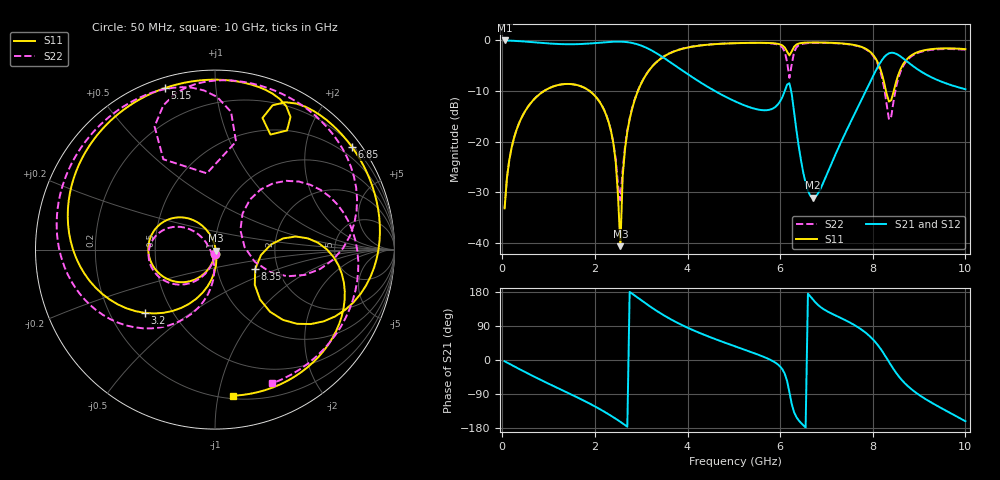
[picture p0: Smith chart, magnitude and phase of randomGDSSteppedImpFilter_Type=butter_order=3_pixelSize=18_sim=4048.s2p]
! freq	dB(S11)	phase(S11)	dB(S12)	phase(S12)
!  dB(S21)	phase(S21)	dB(S22)	phase(S22)
!S-par simulation data
#  GHz  S  DB  R 50
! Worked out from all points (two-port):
!   200 points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, 50 MHz to 10 GHz, reference 50 ohm
!   highest |S21| = -0.01 dB at 50 MHz (marker M1); lowest = -31.0 dB at 6.7 GHz (marker M2)
!   |S21| within 3 dB of the highest: start of sweep to 3.414 GHz; 8.279 GHz to 8.574 GHz (294.4 MHz wide, 3.49 % of centre)
!   lowest |S11| = -40.6 dB at 2.55 GHz (marker M3), VSWR 1.02, Z = 50.7 - j0.67 ohm
!   |S11| at or under -10 dB: start of sweep to 899.5 MHz; 1.886 GHz to 2.929 GHz (1.043 GHz wide, 43.3 % of centre); 8.286 GHz to 8.453 GHz (166.9 MHz wide, 1.99 % of centre)
!   |S22| runs from -33.2 to -0.5 dB; largest |S21 - S12| = 0
!   S11 on the Smith chart (normalised r, x): 50 MHz: 1.00, -0.04; 3.2 GHz: 0.35, -0.34; 5.15 GHz: 0.05, +0.73; 6.85 GHz: 0.24, +2.99; 8.35 GHz: 1.53, -0.35; 10 GHz: 0.22, -1.10
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0.05  -33.16 -93.4  -0.01 -3.3  -0.01 -3.3  -33.16 -93.1
0.55  -13.16 -127.4  -0.26 -35.4  -0.26 -35.4  -13.16 -124.4
1.75  -9.26 157.9  -0.69 -106.6  -0.69 -106.6  -9.25 168.8
2.35  -18.02 114.2  -0.27 -147.3  -0.27 -147.3  -17.92 137.5
2.55  -40.63 -45.3  -0.24 -163.2  -0.24 -163.2  -31.58 -139.0
2.6  -26.78 -79.4  -0.26 -167.4  -0.26 -167.4  -25.53 -100.7
2.7  -18.04 -91.6  -0.34 -176.0  -0.34 -176.0  -17.79 -92.0
3.2  -5.56 -138.0  -1.85 140.5  -1.85 140.5  -5.52 -125.1
3.4  -3.75 -154.6  -2.92 124.5  -2.92 124.5  -3.72 -139.6
4.1  -1.23 158.7  -7.24 79.8  -7.24 79.8  -1.21 179.3
5.05  -0.54 111.9  -12.13 35.0  -12.13 35.0  -0.53 138.8
5.15  -0.52 107.4  -12.53 30.7  -12.53 30.7  -0.51 134.8
5.95  -0.67 69.7  -12.66 -11.6  -12.66 -11.6  -0.82 97.9
6.2  -2.96 64.3  -8.46 -84.7  -8.46 -84.7  -7.39 96.1
6.3  -1.25 68.3  -14.08 -137.5  -14.08 -137.5  -2.34 116.1
6.7  -0.41 44.2  -31.05 160.6  -31.05 160.6  -0.48 84.6
6.85  -0.41 36.7  -29.69 141.9  -29.69 141.9  -0.46 76.8
7.8  -1.44 -17.0  -10.90 76.4  -10.90 76.4  -1.51 19.7
8.35  -12.08 -26.0  -2.54 -5.1  -2.54 -5.1  -15.63 4.9
8.65  -4.79 3.8  -3.51 -55.9  -3.51 -55.9  -5.16 43.9
9.15  -1.87 -30.9  -6.72 -103.9  -6.72 -103.9  -2.01 -0.7
10  -1.72 -83.0  -9.64 -161.5  -9.64 -161.5  -1.82 -66.9
